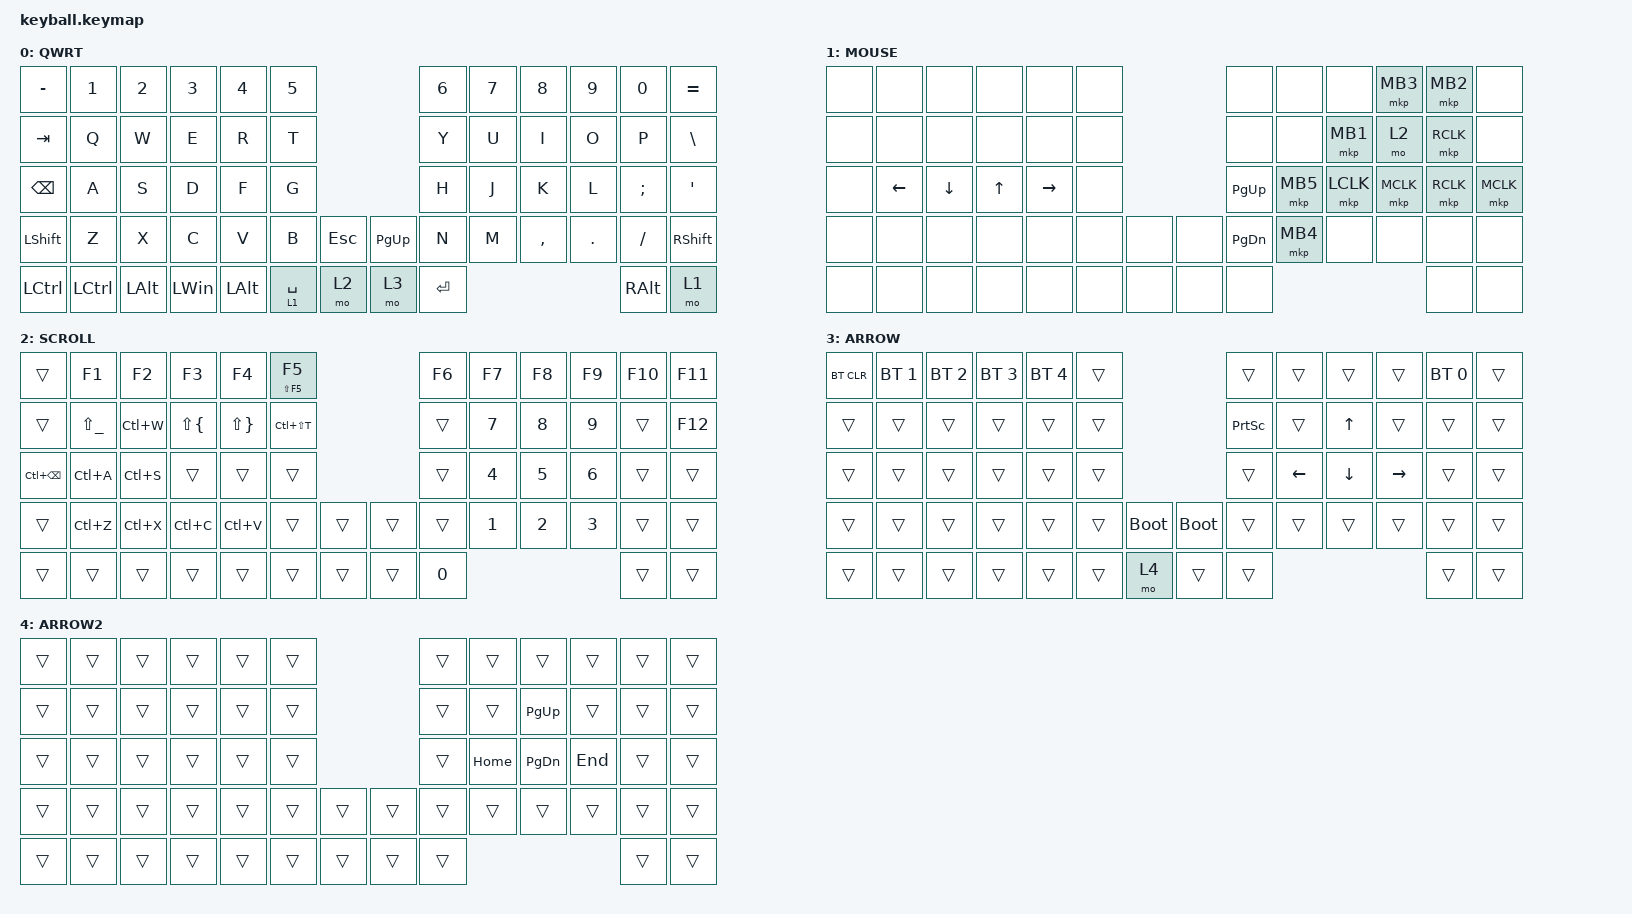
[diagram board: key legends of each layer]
#include <behaviors.dtsi>
#include <dt-bindings/zmk/keys.h>
#include <behaviors/mouse_keys.dtsi>
#include <dt-bindings/zmk/mouse.h>
#include <input/processors.dtsi>
#include <dt-bindings/zmk/bt.h>
#include <dt-bindings/zmk/pointing.h>

&nice_view_spi { cs-gpios = <&pro_micro 1 GPIO_ACTIVE_HIGH>; };

&lt {
    tapping-term-ms = <200>;
    flavor = "balanced";
    quick-tap-ms = <150>;
};

&mt {
    tapping-term-ms = <200>;
    flavor = "tap-preferred";
    quick-tap-ms = <150>;
};

/ {
    combos {
        compatible = "zmk,combos";

        csharp_lambda {
            bindings = <&csharp_lambda>;
            key-positions = <11 54>;
            layers = <0>;
        };
    };

    macros {
        csharp_lambda: csharp_lambda {
            compatible = "zmk,behavior-macro";
            #binding-cells = <0>;
            bindings = <&kp SPACE &kp EQUAL &kp GT &kp SPACE>;
            label = "CSHARP_LAMBDA";
            wait-ms = <30>;
            tap-ms = <30>;
        };
    };

    behaviors {
        lmt: layer_mouse_tap {
            compatible = "zmk,behavior-hold-tap";
            label = "LAYER_MOUSE_TAP";
            bindings = <&lt>, <&mkp>;

            #binding-cells = <2>;
            tapping-term-ms = <200>;
        };
    };

    keymap {
        compatible = "zmk,keymap";

        default_layer {
            label = "QWRT";
            bindings = <
&kp MINUS       &kp N1     &kp N2        &kp N3        &kp N4        &kp N5                                &kp N6     &kp N7  &kp N8     &kp N9   &kp N0         &kp EQUAL
&kp TAB         &kp Q      &kp W         &kp E         &kp R         &kp T                                 &kp Y      &kp U   &kp I      &kp O    &kp P          &kp BACKSLASH
&kp BACKSPACE   &kp A      &kp S         &kp D         &kp F         &kp G                                 &kp H      &kp J   &kp K      &kp L    &kp SEMI       &kp SQT
&kp LEFT_SHIFT  &kp Z      &kp X         &kp C         &kp V         &kp B        &kp ESCAPE  &kp PAGE_UP  &kp N      &kp M   &kp COMMA  &kp DOT  &kp FSLH       &kp RIGHT_SHIFT
&kp LCTRL       &kp LCTRL  &kp LEFT_ALT  &kp LEFT_WIN  &kp LEFT_ALT  &lt 1 SPACE  &mo 2       &mo 3        &kp ENTER                              &kp RIGHT_ALT  &mo 1
            >;
        };

        mouse_layer {
            label = "MOUSE";
            bindings = <
&none  &none     &none     &none   &none      &none                &none          &none     &none      &mkp MB3   &mkp MB2   &none
&none  &none     &none     &none   &none      &none                &none          &none     &mkp MB1   &mo 2      &mkp RCLK  &none
&none  &kp LEFT  &kp DOWN  &kp UP  &kp RIGHT  &none                &kp PAGE_UP    &mkp MB5  &mkp LCLK  &mkp MCLK  &mkp RCLK  &mkp MCLK
&none  &none     &none     &none   &none      &none  &none  &none  &kp PAGE_DOWN  &mkp MB4  &none      &none      &none      &none
&none  &none     &none     &none   &none      &none  &none  &none  &none                                          &none      &none
            >;
        };

        scroll_layer {
            label = "SCROLL";
            bindings = <
&trans             &kp F1         &kp F2     &kp F3        &kp F4        &mt LS(F5) F5                  &kp F6  &kp F7  &kp F8  &kp F9  &kp F10  &kp F11
&trans             &kp LS(UNDER)  &kp LC(W)  &kp LS(LBRC)  &kp LS(RBRC)  &kp LC(LS(T))                  &trans  &kp N7  &kp N8  &kp N9  &trans   &kp F12
&kp LC(BACKSPACE)  &kp LC(A)      &kp LC(S)  &trans        &trans        &trans                         &trans  &kp N4  &kp N5  &kp N6  &trans   &trans
&trans             &kp LC(Z)      &kp LC(X)  &kp LC(C)     &kp LC(V)     &trans         &trans  &trans  &trans  &kp N1  &kp N2  &kp N3  &trans   &trans
&trans             &trans         &trans     &trans        &trans        &trans         &trans  &trans  &kp N0                          &trans   &trans
            >;
        };

        arrow_layer {
            bindings = <
&bt BT_CLR  &bt BT_SEL 1  &bt BT_SEL 2  &bt BT_SEL 3  &bt BT_SEL 4  &trans                            &trans           &trans    &trans    &trans     &bt BT_SEL 0  &trans
&trans      &trans        &trans        &trans        &trans        &trans                            &kp PRINTSCREEN  &trans    &kp UP    &trans     &trans        &trans
&trans      &trans        &trans        &trans        &trans        &trans                            &trans           &kp LEFT  &kp DOWN  &kp RIGHT  &trans        &trans
&trans      &trans        &trans        &trans        &trans        &trans  &bootloader  &bootloader  &trans           &trans    &trans    &trans     &trans        &trans
&trans      &trans        &trans        &trans        &trans        &trans  &mo 4        &trans       &trans                                          &trans        &trans
            >;

            label = "ARROW";
        };

        arrow_layer_2 {
            bindings = <
&trans  &trans  &trans  &trans  &trans  &trans                  &trans  &trans    &trans     &trans   &trans  &trans
&trans  &trans  &trans  &trans  &trans  &trans                  &trans  &trans    &kp PG_UP  &trans   &trans  &trans
&trans  &trans  &trans  &trans  &trans  &trans                  &trans  &kp HOME  &kp PG_DN  &kp END  &trans  &trans
&trans  &trans  &trans  &trans  &trans  &trans  &trans  &trans  &trans  &trans    &trans     &trans   &trans  &trans
&trans  &trans  &trans  &trans  &trans  &trans  &trans  &trans  &trans                                &trans  &trans
            >;

            label = "ARROW2";
        };
    };
};
